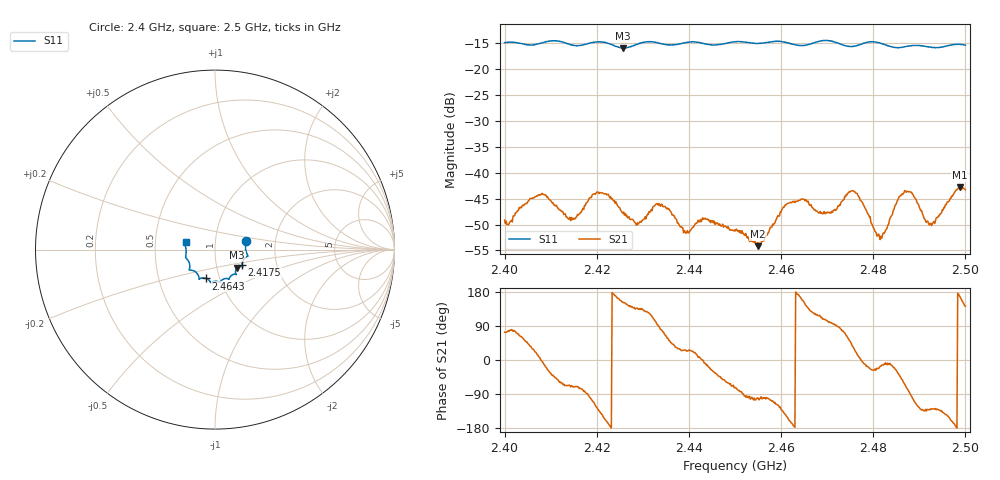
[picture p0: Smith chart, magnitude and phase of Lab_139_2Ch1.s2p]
# Hz S RI R 50
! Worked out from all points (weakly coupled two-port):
!   601 points, 2.4 GHz to 2.5 GHz, reference 50 ohm
!   highest |S21| = -42.80 dB at 2.4988 GHz (marker M1); lowest = -54.2 dB at 2.455 GHz (marker M2)
!   lowest |S11| = -15.9 dB at 2.4257 GHz (marker M3), VSWR 1.38, Z = 62.5 - j13 ohm
!   |S11| at or under -10 dB: start of sweep to end of sweep
!   S12 and S22 are empty: the file has one direction only
!   S11 on the Smith chart (normalised r, x): 2.4 GHz: 1.41, +0.14; 2.4175 GHz: 1.33, -0.23; 2.4643 GHz: 0.86, -0.29; 2.5 GHz: 0.72, +0.06
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2.4e9  0.1729 0.0485  0.00101 0.00334  0 0  0 0
2.407833e9  0.1764 -0.0189  0.00618 4.14e-05  0 0  0 0
2.416667e9  0.1524 -0.0739  0.001 -0.00404  0 0  0 0
2.4175e9  0.1513 -0.0836  0.000424 -0.00478  0 0  0 0
2.421167e9  0.1541 -0.097  -0.00518 -0.00374  0 0  0 0
2.425667e9  0.123 -0.1015  -0.0036 0.00185  0 0  0 0
2.429e9  0.1151 -0.1316  -0.00221 0.0023  0 0  0 0
2.433333e9  0.1136 -0.1373  -0.000135 0.00485  0 0  0 0
2.439333e9  0.0793 -0.1615  0.00235 0.00115  0 0  0 0
2.4435e9  0.0671 -0.1614  0.0036 -0.000572  0 0  0 0
2.45e9  0.0284 -0.1813  0.000822 -0.0026  0 0  0 0
2.455e9  0.00215 -0.1767  -0.000347 -0.00192  0 0  0 0
2.464333e9  -0.0497 -0.1607  -0.00532 0.00161  0 0  0 0
2.466667e9  -0.0762 -0.1586  -0.00281 0.00368  0 0  0 0
2.470833e9  -0.0883 -0.1642  -0.000634 0.00402  0 0  0 0
2.475667e9  -0.1128 -0.1209  0.00556 0.00372  0 0  0 0
2.481e9  -0.1434 -0.1091  0.00228 -0.000928  0 0  0 0
2.483333e9  -0.1405 -0.09  0.0031 -0.00062  0 0  0 0
2.487e9  -0.1552 -0.0546  0.00248 -0.00606  0 0  0 0
2.4925e9  -0.161 -0.0202  -0.00203 -0.00252  0 0  0 0
2.498833e9  -0.1692 0.037  -0.00705 0.00165  0 0  0 0
2.5e9  -0.1643 0.0431  -0.00537 0.00424  0 0  0 0
